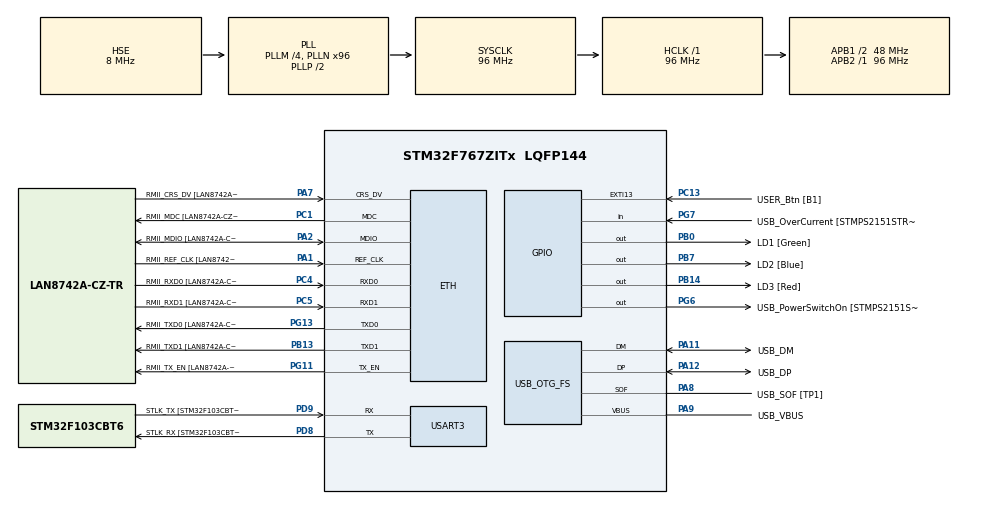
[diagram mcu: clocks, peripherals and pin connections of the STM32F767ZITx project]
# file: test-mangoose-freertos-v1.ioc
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Cesanta.I-CUBE-Mongoose.7.19.0.NetworkOoLibraryJjMongoose=true
ETH.MediaInterface=HAL_ETH_RMII_MODE
ETH.PHY_Name=LAN8742A_PHY_ADDRESS
ETH.PHY_Value=0
ETH.PhyAddress=0
FREERTOS.Tasks01=MongooseTask,0,512,StartMongooseTask,Default,NULL,Dynamic,NULL,NULL;HandlePTPTask,2,256,StartHandlePTPTask,Default,NULL,Dynamic,NULL,NULL
FREERTOS.configUSE_NEWLIB_REENTRANT=1
LWIP.BSP.number=1
LWIP.LWIP_HTTPD=0
LWIP.LWIP_IGMP=1
LWIP.LWIP_MDNS=1
LWIP.LWIP_MDNS_RESPONDER=1
LWIP.LWIP_NUM_NETIF_CLIENT_DATA=1
LWIP.MDNS_MAX_SERVICES=1
LWIP.MEMP_MEM_MALLOC=1
LWIP.MEM_SIZE=10240
LWIP.Version=v2.1.2_Cube
LWIP0.BSP.STBoard=false
LWIP0.BSP.api=BSP_COMPONENT_DRIVER
LWIP0.BSP.component=LAN8742
LWIP0.BSP.instance=LAN8742
LWIP0.BSP.name=Driver_PHY
LWIP0.BSP.semaphore=S_LAN8742
LWIP0.BSP.solution=LAN8742
Mcu.Family=STM32F7
Mcu.Name=STM32F767ZITx
Mcu.Package=LQFP144
NVIC.ETH_IRQn=true\:5\:0\:false\:false\:true\:true\:false\:true\:true
NVIC.OTG_FS_IRQn=true\:5\:0\:false\:false\:true\:true\:false\:true\:true
NVIC.PriorityGroup=NVIC_PRIORITYGROUP_4
NVIC.TIM2_IRQn=true\:5\:0\:false\:false\:true\:true\:true\:true\:true
NVIC.TIM6_DAC_IRQn=true\:15\:0\:false\:false\:true\:false\:false\:true\:true
NVIC.TimeBase=TIM6_DAC_IRQn
NVIC.TimeBaseIP=TIM6
PA1.GPIO_Label=RMII_REF_CLK [LAN8742A-CZ-TR_REFCLK0]
PA1.Mode=RMII
PA1.Signal=ETH_REF_CLK
PA10.GPIO_Label=USB_ID
PA10.Signal=USB_OTG_FS_ID
PA11.GPIO_Label=USB_DM
PA11.Mode=Device_Only
PA11.Signal=USB_OTG_FS_DM
PA12.GPIO_Label=USB_DP
PA12.Mode=Device_Only
PA12.Signal=USB_OTG_FS_DP
PA13.GPIO_Label=TMS
PA13.Mode=Serial_Wire
PA13.Signal=SYS_JTMS-SWDIO
PA14.GPIO_Label=TCK
PA14.Mode=Serial_Wire
PA14.Signal=SYS_JTCK-SWCLK
PA2.GPIO_Label=RMII_MDIO [LAN8742A-CZ-TR_MDIO]
PA2.Mode=RMII
PA2.Signal=ETH_MDIO
PA7.GPIO_Label=RMII_CRS_DV [LAN8742A-CZ-TR_CRS_DV]
PA7.Mode=RMII
PA7.Signal=ETH_CRS_DV
PA8.GPIO_Label=USB_SOF [TP1]
PA8.Mode=Activate_SOF_FS
PA8.Signal=USB_OTG_FS_SOF
PA9.GPIO_Label=USB_VBUS
PA9.Mode=Activate_VBUS
PA9.Signal=USB_OTG_FS_VBUS
PB0.GPIO_Label=LD1 [Green]
PB0.Signal=GPIO_Output
PB13.GPIO_Label=RMII_TXD1 [LAN8742A-CZ-TR_TXD1]
PB13.Mode=RMII
PB13.Signal=ETH_TXD1
PB14.GPIO_Label=LD3 [Red]
PB14.Signal=GPIO_Output
PB3.GPIO_Label=SWO
PB3.Signal=SYS_JTDO-SWO
PB7.GPIO_Label=LD2 [Blue]
PB7.Signal=GPIO_Output
PC1.GPIO_Label=RMII_MDC [LAN8742A-CZ-TR_MDC]
PC1.Mode=RMII
PC1.Signal=ETH_MDC
PC13.GPIO_Label=USER_Btn [B1]
PC13.Signal=GPXTI13
PC14/OSC32_IN.Mode=LSE-External-Oscillator
PC14/OSC32_IN.Signal=RCC_OSC32_IN
PC15/OSC32_OUT.Mode=LSE-External-Oscillator
PC15/OSC32_OUT.Signal=RCC_OSC32_OUT
PC4.GPIO_Label=RMII_RXD0 [LAN8742A-CZ-TR_RXD0]
PC4.Mode=RMII
PC4.Signal=ETH_RXD0
PC5.GPIO_Label=RMII_RXD1 [LAN8742A-CZ-TR_RXD1]
PC5.Mode=RMII
PC5.Signal=ETH_RXD1
PD8.GPIO_Label=STLK_RX [STM32F103CBT6_PA3]
PD8.Mode=Asynchronous
PD8.Signal=USART3_TX
PD9.GPIO_Label=STLK_TX [STM32F103CBT6_PA2]
PD9.Mode=Asynchronous
PD9.Signal=USART3_RX
PG11.GPIO_Label=RMII_TX_EN [LAN8742A-CZ-TR_TXEN]
PG11.Mode=RMII
PG11.Signal=ETH_TX_EN
PG13.GPIO_Label=RMII_TXD0 [LAN8742A-CZ-TR_TXD0]
PG13.Mode=RMII
PG13.Signal=ETH_TXD0
PG6.GPIO_Label=USB_PowerSwitchOn [STMPS2151STR_EN]
PG6.Signal=GPIO_Output
PG7.GPIO_Label=USB_OverCurrent [STMPS2151STR_FAULT]
PG7.Signal=GPIO_Input
PH0/OSC_IN.GPIO_Label=MCO [STM32F103CBT6_PA8]
PH0/OSC_IN.Mode=HSE-External-Clock-Source
PH0/OSC_IN.Signal=RCC_OSC_IN
PH1/OSC_OUT.Mode=HSE-External-Clock-Source
PH1/OSC_OUT.Signal=RCC_OSC_OUT
ProjectManager.HeapSize=0x200
ProjectManager.StackSize=0x400
ProjectManager.TargetToolchain=STM32CubeIDE
RCC.48MHZClocksFreq_Value=24000000
RCC.AHBFreq_Value=96000000
RCC.APB1CLKDivider=RCC_HCLK_DIV2
RCC.APB1Freq_Value=48000000
RCC.APB1TimFreq_Value=96000000
RCC.APB2Freq_Value=96000000
RCC.APB2TimFreq_Value=96000000
RCC.CortexFreq_Value=96000000
RCC.HCLKFreq_Value=96000000
RCC.HSE_VALUE=8000000
RCC.HSI_VALUE=16000000
RCC.PLLM=4
RCC.PLLMUL=RCC_PLL_MUL9
RCC.PLLN=96
RCC.PLLQ=4
RCC.PRESCALERUSB=RCC_USBCLKSOURCE_PLL_DIV1_5
RCC.SYSCLKFreq_VALUE=96000000
RCC.SYSCLKSource=RCC_SYSCLKSOURCE_PLLCLK
RCC.SYSCLKSourceVirtual=RCC_SYSCLKSOURCE_PLLCLK
RCC.USBFreq_Value=48000000
RCC.VCOOutputFreq_Value=192000000
USART3.VirtualMode-Asynchronous=VM_ASYNC
USB_DEVICE.CLASS_NAME_FS=CDC
USB_DEVICE.VirtualMode-CDC_FS=Cdc
USB_DEVICE.VirtualModeFS=Cdc_FS
USB_OTG_FS.VirtualMode=Device_Only
VP_Cesanta.I-CUBE-Mongoose_VS_NetworkOoLibraryJjMongoose_7.19.0_7.19.0.Mode=NetworkOoLibraryJjMongoose
VP_FREERTOS_VS_CMSIS_V1.Mode=CMSIS_V1
VP_LWIP_VS_Enabled.Mode=Enabled
VP_RTC_VS_RTC_Activate.Mode=RTC_Enabled
VP_SYS_VS_tim6.Mode=TIM6
VP_TIM2_VS_ClockSourceINT.Mode=Internal
VP_USB_DEVICE_VS_USB_DEVICE_CDC_FS.Mode=CDC_FS
board=NUCLEO-F767ZI

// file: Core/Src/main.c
/* USER CODE BEGIN Header */
/**
 ******************************************************************************
 * @file           : main.c
 * @brief          : Main program body
 ******************************************************************************
 * @attention
 *
 * Copyright (c) 2025 STMicroelectronics.
 * All rights reserved.
 *
 * This software is licensed under terms that can be found in the LICENSE file
 * in the root directory of this software component.
 * If no LICENSE file comes with this software, it is provided AS-IS.
 *
 ******************************************************************************
 */
/* USER CODE END Header */
#include "main.h"
#include "cmsis_os.h"
#include "lwip.h"
#include "usb_device.h"

/* USER CODE BEGIN Includes */

#include "mongoose.h"
#include "lwip/netif.h"
#include "lwip/dhcp.h"
#include "usbd_cdc_if.h"
#include <stdarg.h>
#include "lwip/apps/mdns.h"

#include "lwip/sockets.h"
#include "lwip/netdb.h"

#include "lwip/udp.h"

#include "data.h"
#include "udp_ptp.h"
#include "udp_rtp.h"

/* USER CODE END Includes */

/* USER CODE BEGIN PM */

#define LOG2(msg)  CDC_Transmit_FS((uint8_t *)(msg), strlen(msg))

/* USER CODE END PM */

RTC_HandleTypeDef hrtc;

TIM_HandleTypeDef htim2;

UART_HandleTypeDef huart3;

osThreadId MongooseTaskHandle;
osThreadId HandlePTPTaskHandle;
/* USER CODE BEGIN PV */

static int count = 0;

/* USER CODE END PV */

void SystemClock_Config(void);
static void MX_GPIO_Init(void);
static void MX_USART3_UART_Init(void);
static void MX_RTC_Init(void);
static void MX_TIM2_Init(void);
void StartMongooseTask(void const *argument);
void StartHandlePTPTask(void const *argument);

/* USER CODE BEGIN 0 */

void usb_printf(const char *fmt, ...) {
	char buffer[256];  // adjust size if needed
	va_list args;
	va_start(args, fmt);
	vsnprintf(buffer, sizeof(buffer), fmt, args);
	va_end(args);

	uint8_t result;
	do {
		result = CDC_Transmit_FS((uint8_t*) buffer, strlen(buffer));
		if (result == USBD_BUSY) {
			osDelay(1); // wait a millisecond and retry
		}
	} while (result == USBD_BUSY);
}

#define LOG(msg)  usb_printf("%s\r\n", msg);

static struct mg_mgr mgr;

static int WS_READY = 0;
static char ws_url[32];
static char primary[16];
static char my_ip[16];

static void ws_client_fn(struct mg_connection *c, int ev, void *ev_data,
		void *fn_data) {
	switch (ev) {
	case MG_EV_WS_OPEN:
		printf("[ws] WS connected!\r\n");
		// mg_ws_send(c, "Hello from STM32 WS client!", 28, WEBSOCKET_OP_TEXT);

		static char reply_buf[1024];
		snprintf(reply_buf, sizeof(reply_buf), WEBSOCKETS_CONNECT_DATA, my_ip);

		printf("WS message sent: %s\r\n", reply_buf);
		size_t sent = mg_ws_send(c, reply_buf, strlen(reply_buf),
				WEBSOCKET_OP_TEXT);
		printf("[ws] sent=%d\r\n", sent);
		break;

	case MG_EV_WS_MSG:
		printf("[ws] MG_EV_WS_MSG");
		struct mg_ws_message *wm = (struct mg_ws_message*) ev_data;
		printf("[ws] WS message: %.*s\n", (int) wm->data.len, wm->data.buf);
		break;

	case MG_EV_CLOSE:
		printf("[ws] WS connection closed\n");
		break;
	}

//	if (ev != MG_EV_POLL)
//		printf("[ws_client_fn] event = %d finished, ev_data =%s \r\n", ev,
//				(char*) ev_data);

}

static void http_fn(struct mg_connection *c, int ev, void *ev_data) {

	switch (ev) {
	case MG_EV_OPEN:
//		printf("Connection created.\r\n");
		break;

	case MG_EV_ACCEPT:
//		printf("Connection accepted.\r\n");
		break;

	case MG_EV_READ:
//		char *data = c->recv.buf;
//		int size = c->recv.len;
//		printf("READ. data=%s len=%d\r\n", data, size);
		break;

	case MG_EV_WRITE:
//		printf("WRITE.\r\n");
		break;

	case MG_EV_HTTP_HDRS:
//		printf("Got headers, len=%d\r\n", (int) ev_data);
		break;

	case MG_EV_HTTP_MSG:

		struct mg_http_message *hm = (struct mg_http_message*) ev_data;

//		static char msgbuf[1024];
//		snprintf(msgbuf, hm->body.len, hm->body.buf);
//		printf("recieved http msg: %s\r\n", msgbuf);

		if (mg_match(hm->uri, mg_str("/api/v1/speakerlink/role"), NULL)) {

			// *** PUT ***
			if (mg_match(hm->method, mg_str("PUT"), NULL)) {

				/**
				 * Expecting JSON object such as:
				 * {
				 * 	"channel": "any",
				 * 	"hints": {...},
				 * 	"operationCounter": 1,
				 * 	"primary": "36956626",
				 * 	"role": "secondary",
				 * 	"serialNumber": "36956544"
				 * 	}
				 * 	For now, we're ignoring it...
				 */

				printf("received PUT\r\n");
				mg_http_reply(c, 202, "Content-Type: application/json\r\n",
						"{}");

				char *str = mg_json_get_str(hm->body, "$.role");
//				if (str != NULL)
//					printf("role: %s\r\n", str);
				if (str != NULL && strcmp(str, "secondary") == 0) {
					// Extract the primary serial num:
					strncpy(primary, mg_json_get_str(hm->body, "$.primary"),
							sizeof(primary));
					printf("Primary serial: %s\r\n", primary);

					// Extract the client's IP (remote address)
					char ip_buf[16];
					mg_snprintf(ip_buf, sizeof(ip_buf), "%M", mg_print_ip,
							&c->rem);

					// Build WebSocket URL
					// char ws_url[24];
					snprintf(ws_url, sizeof(ws_url), "ws://%s:8999", ip_buf);// Assuming server listens on /ws
					printf("Upgrading to %s\r\n", ws_url);
					WS_READY = 1;

					// does not work if we have to change ports!
					//mg_ws_upgrade(c, hm, NULL);
				}

				return;
			}

			// *** GET ***
			else if (mg_match(hm->method, mg_str("GET"), NULL)) {
//				mg_http_reply(c, 200, "Content-Type: application/json\r\n",
//						"{\"channel\":\"any\",\"desired\":\"secondary\",\"primary\":\"36956626\",\"role\":\"secondary\"}");
//
				static char reply_buf[256];
				snprintf(reply_buf, sizeof(reply_buf),
						"{\"channel\":\"any\",\"desired\":\"secondary\",\"primary\":\"%s\",\"role\":\"secondary\"}",
						primary);			// Assuming server listens on /ws

				mg_http_reply(c, 200, "Content-Type: application/json\r\n",
						reply_buf);

				return;

			}
		}

//			// ------------------- start ws -------------------

	case MG_EV_POLL:
		break;
	case MG_EV_CLOSE:

		// Extract the client's IP (remote address)
		char ip_buf[16];
		mg_snprintf(ip_buf, sizeof(ip_buf), "%M", mg_print_ip, &c->rem);

		printf("MG_EV_CLOSE connection closed (%s)\n", ip_buf);

		// mg_close_conn(c);
		break;

//
//	// --- from the WS function ---
//	case MG_EV_WS_OPEN:
//
//		printf("MG_EV_WS_OPEN\r\n");
//		printf("WS connected, strlen=%d, strlen2=%d\r\n",
//				strlen(WEBSOCKETS_CONNECT_DATA),
//				strlen("Hello from STM32 WS client!"));
//
//		ip_addr_t ip = *netif_ip4_addr(netif_default);
//		static char reply_buf[1024];
//		snprintf(reply_buf, sizeof(reply_buf), WEBSOCKETS_CONNECT_DATA, ip4_addr1(&ip), ip4_addr2(&ip),
//				ip4_addr3(&ip), ip4_addr4(&ip));// Assuming server listens on /ws
//
//		printf("websockets message: %s\r\n", reply_buf);
//		// mg_ws_send(c, "Hello from STM32 WS client!", 28, WEBSOCKET_OP_TEXT);
//		size_t sent = mg_ws_send(c, reply_buf,
//				strlen(reply_buf), WEBSOCKET_OP_TEXT);
//		printf("sent=%d\r\n", sent);
//		break;
//
//	case MG_EV_WS_MSG:
//		printf("MG_EV_WS_MSG");
//		struct mg_ws_message *wm = (struct mg_ws_message*) ev_data;
//		printf("WS message: %.*s\n", (int) wm->data.len, wm->data.buf);
//		break;
////
//	case MG_EV_CLOSE:
//		printf("WS connection closed\n");
//		break;
		// --- from the WS function ---

	default:
		printf("[http handler] none of the above, event=%d\r\n", ev);

	}

}

/* USER CODE END 0 */

int main(void) {

	/* MCU Configuration--------------------------------------------------------*/

	/* Reset of all peripherals, Initializes the Flash interface and the Systick. */
	HAL_Init();

	/* Configure the system clock */
	SystemClock_Config();

	/* Initialize all configured peripherals */
	MX_GPIO_Init();
	MX_USART3_UART_Init();
	MX_RTC_Init();
	MX_TIM2_Init();
	/* USER CODE BEGIN 2 */

	HAL_StatusTypeDef ret = HAL_TIM_Base_Start_IT(&htim2);

	/* USER CODE END 2 */

	/* Create the thread(s) */
	/* definition and creation of MongooseTask */
	osThreadDef(MongooseTask, StartMongooseTask, osPriorityNormal, 0, 512);
	MongooseTaskHandle = osThreadCreate(osThread(MongooseTask), NULL);

	/* definition and creation of HandlePTPTask */
	osThreadDef(HandlePTPTask, StartHandlePTPTask, osPriorityHigh, 0, 256);
	HandlePTPTaskHandle = osThreadCreate(osThread(HandlePTPTask), NULL);

	/* Start scheduler */
	osKernelStart();

	/* We should never get here as control is now taken by the scheduler */

	/* Infinite loop */
	while (1) {

	}
}

void SystemClock_Config(void) {
	RCC_OscInitTypeDef RCC_OscInitStruct = { 0 };
	RCC_ClkInitTypeDef RCC_ClkInitStruct = { 0 };

	/** Configure LSE Drive Capability
	 */
	HAL_PWR_EnableBkUpAccess();

	/** Configure the main internal regulator output voltage
	 */
	__HAL_RCC_PWR_CLK_ENABLE();
	__HAL_PWR_VOLTAGESCALING_CONFIG(PWR_REGULATOR_VOLTAGE_SCALE3);

	/** Initializes the RCC Oscillators according to the specified parameters
	 * in the RCC_OscInitTypeDef structure.
	 */
	RCC_OscInitStruct.OscillatorType = RCC_OSCILLATORTYPE_LSI
			| RCC_OSCILLATORTYPE_HSE;
	RCC_OscInitStruct.HSEState = RCC_HSE_BYPASS;
	RCC_OscInitStruct.LSIState = RCC_LSI_ON;
	RCC_OscInitStruct.PLL.PLLState = RCC_PLL_ON;
	RCC_OscInitStruct.PLL.PLLSource = RCC_PLLSOURCE_HSE;
	RCC_OscInitStruct.PLL.PLLM = 4;
	RCC_OscInitStruct.PLL.PLLN = 96;
	RCC_OscInitStruct.PLL.PLLP = RCC_PLLP_DIV2;
	RCC_OscInitStruct.PLL.PLLQ = 4;
	RCC_OscInitStruct.PLL.PLLR = 2;
	if (HAL_RCC_OscConfig(&RCC_OscInitStruct) != HAL_OK) {
		Error_Handler();
	}

	/** Activate the Over-Drive mode
	 */
	if (HAL_PWREx_EnableOverDrive() != HAL_OK) {
		Error_Handler();
	}

	/** Initializes the CPU, AHB and APB buses clocks
	 */
	RCC_ClkInitStruct.ClockType = RCC_CLOCKTYPE_HCLK | RCC_CLOCKTYPE_SYSCLK
			| RCC_CLOCKTYPE_PCLK1 | RCC_CLOCKTYPE_PCLK2;
	RCC_ClkInitStruct.SYSCLKSource = RCC_SYSCLKSOURCE_PLLCLK;
	RCC_ClkInitStruct.AHBCLKDivider = RCC_SYSCLK_DIV1;
	RCC_ClkInitStruct.APB1CLKDivider = RCC_HCLK_DIV2;
	RCC_ClkInitStruct.APB2CLKDivider = RCC_HCLK_DIV1;

	if (HAL_RCC_ClockConfig(&RCC_ClkInitStruct, FLASH_LATENCY_3) != HAL_OK) {
		Error_Handler();
	}
}

static void MX_RTC_Init(void) {

	/** Initialize RTC Only
	 */
	hrtc.Instance = RTC;
	hrtc.Init.HourFormat = RTC_HOURFORMAT_24;
	hrtc.Init.AsynchPrediv = 127;
	hrtc.Init.SynchPrediv = 255;
	hrtc.Init.OutPut = RTC_OUTPUT_DISABLE;
	hrtc.Init.OutPutPolarity = RTC_OUTPUT_POLARITY_HIGH;
	hrtc.Init.OutPutType = RTC_OUTPUT_TYPE_OPENDRAIN;
	if (HAL_RTC_Init(&hrtc) != HAL_OK) {
		Error_Handler();
	}

}

static void MX_TIM2_Init(void) {

	TIM_ClockConfigTypeDef sClockSourceConfig = { 0 };
	TIM_MasterConfigTypeDef sMasterConfig = { 0 };

	/* USER CODE BEGIN TIM2_Init 1 */
	////////////////
	RCC_ClkInitTypeDef clkconfig;
	uint32_t uwTimclock, uwAPB1Prescaler = 0U;

	uint32_t uwPrescalerValue = 0U;
	uint32_t pFLatency;

	HAL_StatusTypeDef status;

	/* Get clock configuration */
	HAL_RCC_GetClockConfig(&clkconfig, &pFLatency);

	/* Get APB1 prescaler */
	uwAPB1Prescaler = clkconfig.APB1CLKDivider;
	/* Compute TIM6 clock */
	if (uwAPB1Prescaler == RCC_HCLK_DIV1) {
		uwTimclock = HAL_RCC_GetPCLK1Freq();
	} else {
		uwTimclock = 2UL * HAL_RCC_GetPCLK1Freq();
	}

	/* Compute the prescaler value to have TIM2 counter clock equal to 100MHz */
	uwPrescalerValue = (uint32_t) ((uwTimclock / 10000U) - 1U);
	////////////////

	/* USER CODE END TIM2_Init 1 */
	htim2.Instance = TIM2;
	htim2.Init.Prescaler = uwPrescalerValue;
	htim2.Init.CounterMode = TIM_COUNTERMODE_UP;
	// htim2.Init.Period = 4294967295;
	htim2.Init.Period = (1000000U / 1000U) - 1U; // 1 ms
	htim2.Init.ClockDivision = TIM_CLOCKDIVISION_DIV1;
	htim2.Init.AutoReloadPreload = TIM_AUTORELOAD_PRELOAD_DISABLE;
	if (HAL_TIM_Base_Init(&htim2) != HAL_OK) {
		Error_Handler();
	}
	sClockSourceConfig.ClockSource = TIM_CLOCKSOURCE_INTERNAL;
	if (HAL_TIM_ConfigClockSource(&htim2, &sClockSourceConfig) != HAL_OK) {
		Error_Handler();
	}
	sMasterConfig.MasterOutputTrigger = TIM_TRGO_RESET;
	sMasterConfig.MasterSlaveMode = TIM_MASTERSLAVEMODE_DISABLE;
	if (HAL_TIMEx_MasterConfigSynchronization(&htim2, &sMasterConfig)
			!= HAL_OK) {
		Error_Handler();
	}

}

static void MX_USART3_UART_Init(void) {

	huart3.Instance = USART3;
	huart3.Init.BaudRate = 115200;
	huart3.Init.WordLength = UART_WORDLENGTH_8B;
	huart3.Init.StopBits = UART_STOPBITS_1;
	huart3.Init.Parity = UART_PARITY_NONE;
	huart3.Init.Mode = UART_MODE_TX_RX;
	huart3.Init.HwFlowCtl = UART_HWCONTROL_NONE;
	huart3.Init.OverSampling = UART_OVERSAMPLING_16;
	huart3.Init.OneBitSampling = UART_ONE_BIT_SAMPLE_DISABLE;
	huart3.AdvancedInit.AdvFeatureInit = UART_ADVFEATURE_NO_INIT;
	if (HAL_UART_Init(&huart3) != HAL_OK) {
		Error_Handler();
	}

}

static void MX_GPIO_Init(void) {
	GPIO_InitTypeDef GPIO_InitStruct = { 0 };

	/* GPIO Ports Clock Enable */
	__HAL_RCC_GPIOC_CLK_ENABLE();
	__HAL_RCC_GPIOH_CLK_ENABLE();
	__HAL_RCC_GPIOA_CLK_ENABLE();
	__HAL_RCC_GPIOB_CLK_ENABLE();
	__HAL_RCC_GPIOD_CLK_ENABLE();
	__HAL_RCC_GPIOG_CLK_ENABLE();

	/*Configure GPIO pin Output Level */
	HAL_GPIO_WritePin(GPIOB, LD1_Pin | LD3_Pin | LD2_Pin, GPIO_PIN_RESET);

	/*Configure GPIO pin Output Level */
	HAL_GPIO_WritePin(USB_PowerSwitchOn_GPIO_Port, USB_PowerSwitchOn_Pin,
			GPIO_PIN_RESET);

	/*Configure GPIO pin : USER_Btn_Pin */
	GPIO_InitStruct.Pin = USER_Btn_Pin;
	GPIO_InitStruct.Mode = GPIO_MODE_IT_RISING;
	GPIO_InitStruct.Pull = GPIO_NOPULL;
	HAL_GPIO_Init(USER_Btn_GPIO_Port, &GPIO_InitStruct);

	/*Configure GPIO pins : LD1_Pin LD3_Pin LD2_Pin */
	GPIO_InitStruct.Pin = LD1_Pin | LD3_Pin | LD2_Pin;
	GPIO_InitStruct.Mode = GPIO_MODE_OUTPUT_PP;
	GPIO_InitStruct.Pull = GPIO_NOPULL;
	GPIO_InitStruct.Speed = GPIO_SPEED_FREQ_LOW;
	HAL_GPIO_Init(GPIOB, &GPIO_InitStruct);

	/*Configure GPIO pin : USB_PowerSwitchOn_Pin */
	GPIO_InitStruct.Pin = USB_PowerSwitchOn_Pin;
	GPIO_InitStruct.Mode = GPIO_MODE_OUTPUT_PP;
	GPIO_InitStruct.Pull = GPIO_NOPULL;
	GPIO_InitStruct.Speed = GPIO_SPEED_FREQ_LOW;
	HAL_GPIO_Init(USB_PowerSwitchOn_GPIO_Port, &GPIO_InitStruct);

	/*Configure GPIO pin : USB_OverCurrent_Pin */
	GPIO_InitStruct.Pin = USB_OverCurrent_Pin;
	GPIO_InitStruct.Mode = GPIO_MODE_INPUT;
	GPIO_InitStruct.Pull = GPIO_NOPULL;
	HAL_GPIO_Init(USB_OverCurrent_GPIO_Port, &GPIO_InitStruct);

}

/* USER CODE BEGIN 4 */

void add_txt_mdns(struct mdns_service *service, void *txt_userdata) {
	mdns_resp_add_service_txtitem(service, "hn=Beosound-2-3rd-Gen-22223335",
			strlen("hn=Beosound-2-3rd-Gen-22223335"));
	// office:
	// mdns_resp_add_service_txtitem(service, "ip=192.168.10.127",
	// 		strlen("ip=192.168.10.127"));

	// home:

	char ip_mdns_txt[32];
	snprintf(ip_mdns_txt, sizeof(ip_mdns_txt), "ip=%s", my_ip);
	mdns_resp_add_service_txtitem(service, ip_mdns_txt, strlen(ip_mdns_txt));
	printf("mdns text: %s\r\n", ip_mdns_txt);

	mdns_resp_add_service_txtitem(service, "nt=e", 4);
	mdns_resp_add_service_txtitem(service, "pn=Beosound 2 3rd gen-22223335",
			strlen("pn=Beosound 2 3rd gen-22223335"));
	mdns_resp_add_service_txtitem(service, "pp=0", 4);
	mdns_resp_add_service_txtitem(service, "pv=1.0.0", 8);
	mdns_resp_add_service_txtitem(service, "sn=22223335", 11);
	mdns_resp_add_service_txtitem(service, "tn=3150", 7); // if theres strlen it's without the \0 (according to Anas)

}

/* USER CODE END 4 */

void StartMongooseTask(void const *argument) {
	/* init code for LWIP */
	MX_LWIP_Init();

	/* init code for USB_DEVICE */
	MX_USB_DEVICE_Init();
	/* USER CODE BEGIN 5 */
	/* Infinite loop */

//	uint32_t uscount = __HAL_TIM_GET_COUNTER(&htim2);
//	uint32_t mscount = HAL_GetTick();
//
//	while (1) {
//		printf("ms=%d ; us=%d\r\n", mscount, uscount);
//
//		uscount = __HAL_TIM_GET_COUNTER(&htim2);
//		mscount = HAL_GetTick();
//
//		osDelay(1000); // in ms
//	}

//
//
//  HAL_StatusTypeDef ret = HAL_TIM_Base_Start_IT(&htim2);
//  printf("ret=%d\r\n", ret);

	/* USER CODE BEGIN 5 */
// wait for LWIP to be on (probably should be changed..?)
// osDelay(1000);
	while (netif_default == NULL || !netif_is_up(netif_default)
			|| !ip4_addr_isany_val(*netif_ip4_addr(netif_default))
// || netif_is_link_up(netif_list) == 0
	) {
		osDelay(100);
		// LOG("inside while");
	}

	char buf[64];
	ip4_addr_t ip = *netif_ip4_addr(netif_default);
	sprintf(buf, "IP acquired: %u.%u.%u.%u", ip4_addr1(&ip), ip4_addr2(&ip),
			ip4_addr3(&ip), ip4_addr4(&ip));
	LOG(buf);

	extern struct dhcp_state_enum_t;

	struct dhcp *dhcp_client = netif_dhcp_data(netif_default);
	while (dhcp_client == NULL || dhcp_client->state != 10) {
		osDelay(100);
		// safe to read IP
	}

	ip = *netif_ip4_addr(netif_default);
	sprintf(buf, "IP acquired: %u.%u.%u.%u", ip4_addr1(&ip), ip4_addr2(&ip),
			ip4_addr3(&ip), ip4_addr4(&ip));
	LOG(buf);

	snprintf(my_ip, sizeof(my_ip), "%u.%u.%u.%u", ip4_addr1(&ip),
			ip4_addr2(&ip), ip4_addr3(&ip), ip4_addr4(&ip));

	printf("My IP (str): %s\r\n", my_ip);

	mdns_resp_init();
	mdns_resp_add_netif(netif_default, "22223335", 3600);

	// prev
//	mdns_resp_add_service(netif_default, "22223335", "_speakerlink",
//			DNSSD_PROTO_TCP, 80, 3600, add_txt_mdns,
//			NULL);

	mdns_resp_add_service(netif_default, "22223335", "_speakerlink",
			DNSSD_PROTO_TCP, 8999, 3600, add_txt_mdns,
			NULL);

	mdns_resp_announce(netif_default); // actively broadcast the service
	LOG("mDNS finished: 22223335");

// --------------- mongoose ---------------

	mg_log_set(MG_LL_DEBUG); //change to DEBUG for debug
	// mg_log_set_fn(NULL, NULL);

	mg_mgr_init(&mgr);

	mg_http_listen(&mgr, "http://0.0.0.0:80", http_fn, &mgr);

	struct udp_pcb *pcb_sync = udp_new();
	udp_bind(pcb_sync, IP_ADDR_ANY, 3190);
	udp_recv(pcb_sync, handle_udp_ptp_sync, pcb_sync);

	struct udp_pcb *pcb = udp_new();
	udp_bind(pcb, IP_ADDR_ANY, 3200);
	udp_recv(pcb, handle_udp_ptp, pcb);

	struct udp_pcb *pcb_rtp = udp_new();
	udp_bind(pcb_rtp, IP_ADDR_ANY, 10020);
	udp_recv(pcb_rtp, handle_udp_rtp, pcb_rtp);

	int loopcount = 0;
	printf("count=%d\r", count);

// Main event loop
	for (;;) {
		// MX_LWIP_Process() ; // maybe??
		mg_mgr_poll(&mgr, 100);   // 100 ms polling

		if (WS_READY == 1) {
			mg_ws_connect(&mgr, ws_url, ws_client_fn, NULL,
			NULL);
			WS_READY = 0;

		}
		if (loopcount++ > 100) {
//			printf("runing [mdns_resp_announce]\r\n");
//			mdns_resp_announce(netif_default); // actively broadcast the service
			loopcount = 0;

			//uint32_t uscount =__HAL_TIM_GET_COUNTER(&htim2);
			//printf("timer count=%d\r\n", uscount );
		}

		// osDelay(1);              // Yield to other FreeRTOS tasks
	}

// mg_mgr_free(&mgr);

	/* USER CODE END 5 */
}

void StartHandlePTPTask(void const *argument) {
	/* USER CODE BEGIN StartHandlePTPTask */

	/* Infinite loop */
	for (;;) {
		osDelay(1000);
	}
	/* USER CODE END StartHandlePTPTask */
}

void HAL_TIM_PeriodElapsedCallback(TIM_HandleTypeDef *htim) {
	if (htim->Instance == TIM6) {
		HAL_IncTick();
	}
	/* USER CODE BEGIN Callback 1 */
//
//  if (htim->Instance == TIM2)
//  {
//	  ++count;
//  }
	/* USER CODE END Callback 1 */
}

void Error_Handler(void) {
	__disable_irq();
	while (1) {
	}
}
